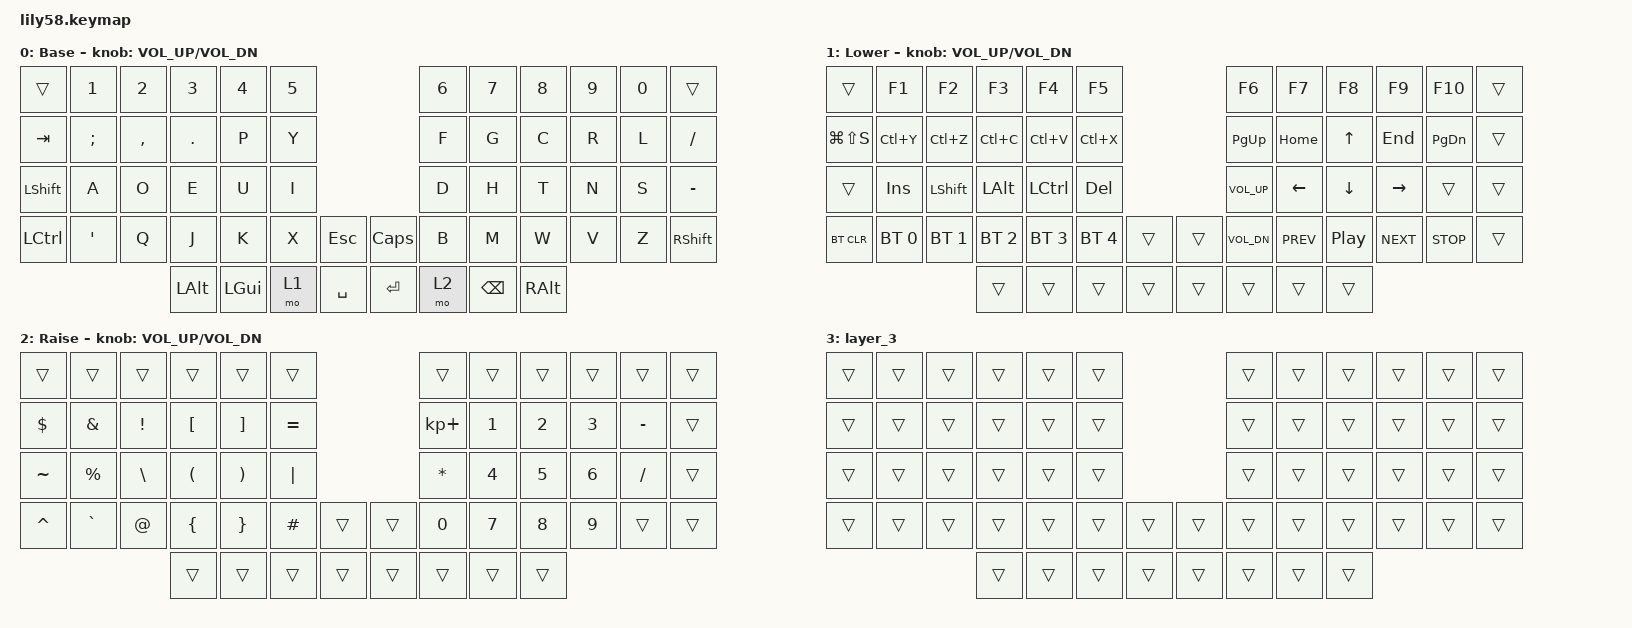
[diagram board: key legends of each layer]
/*
 * Copyright (c) 2020 The ZMK Contributors
 *
 * SPDX-License-Identifier: MIT
 */

#include <behaviors.dtsi>
#include <dt-bindings/zmk/bt.h>
#include <dt-bindings/zmk/keys.h>

/ {
    keymap {
        compatible = "zmk,keymap";

        default_layer {
            // ------------------------------------------------------------------------------------------------------------
            // |  ESC  |  1  |  2  |  3   |  4   |  5   |                   |  6   |  7    |  8    |  9   |   0   |   `   |
            // |  TAB  |  Q  |  W  |  E   |  R   |  T   |                   |  Y   |  U    |  I    |  O   |   P   |   -   |
            // |  CTRL |  A  |  S  |  D   |  F   |  G   |                   |  H   |  J    |  K    |  L   |   ;   |   '   |
            // | SHIFT |  Z  |  X  |  C   |  V   |  B   |   "["  |  |  "]"  |  N   |  M    |  ,    |  .   |   /   | SHIFT |
            //                     | ALT  | GUI  | LOWER|  SPACE |  | ENTER | RAISE| BSPC  | GUI   |

            display-name = "Base";
            bindings = <
&trans     &kp NUMBER_1    &kp NUMBER_2  &kp NUMBER_3  &kp NUMBER_4  &kp NUMBER_5                         &kp NUMBER_6  &kp NUMBER_7  &kp NUMBER_8  &kp NUMBER_9  &kp N0  &trans
&kp TAB    &kp SEMI        &kp COMMA     &kp DOT       &kp P         &kp Y                                &kp F         &kp G         &kp C         &kp R         &kp L   &kp FSLH
&kp LSHFT  &kp A           &kp O         &kp E         &kp U         &kp I                                &kp D         &kp H         &kp T         &kp N         &kp S   &kp MINUS
&kp LCTRL  &kp APOSTROPHE  &kp Q         &kp J         &kp K         &kp X         &kp ESC      &kp CAPS  &kp B         &kp M         &kp W         &kp V         &kp Z   &kp RSHFT
                                         &kp LALT      &kp LGUI      &mo 1         &kp SPACE    &kp RET   &mo 2         &kp BSPC      &kp RALT
            >;

            sensor-bindings = <&inc_dec_kp C_VOL_UP C_VOL_DN>;
        };

        lower_layer {
            // ------------------------------------------------------------------------------------------------------------
            // | BTCLR | BT1 | BT2 |  BT3 |  BT4 |  BT5 |                   |      |       |       |      |       |       |
            // |  F1   |  F2 |  F3 |  F4  |  F5  |  F6  |                   |  F7  |  F8   |  F9   |  F10 |  F11  |  F12  |
            // |   `   |  !  |  @  |  #   |  $   |  %   |                   |  ^   |  &    |  *    |  (   |   )   |   ~   |
            // |       |     |     |      |      |      |        |  |       |      |  _    |  +    |  {   |   }   |  "|"  |
            //                     |      |      |      |        |  |       |      |       |       |

            display-name = "Lower";
            bindings = <
&trans         &kp F1        &kp F2        &kp F3        &kp F4        &kp F5                          &kp F6        &kp F7          &kp F8            &kp F9           &kp F10        &trans
&kp LG(LS(S))  &kp LC(Y)     &kp LC(Z)     &kp LC(C)     &kp LC(V)     &kp LC(X)                       &kp PAGE_UP   &kp HOME        &kp UP_ARROW      &kp END          &kp PAGE_DOWN  &trans
&trans         &kp INSERT    &kp LSHFT     &kp LALT      &kp LCTRL     &kp DELETE                      &kp C_VOL_UP  &kp LEFT_ARROW  &kp DOWN_ARROW    &kp RIGHT_ARROW  &trans         &trans
&bt BT_CLR     &bt BT_SEL 0  &bt BT_SEL 1  &bt BT_SEL 2  &bt BT_SEL 3  &bt BT_SEL 4  &trans    &trans  &kp C_VOL_DN  &kp C_PREV      &kp C_PLAY_PAUSE  &kp C_NEXT       &kp C_STOP     &trans
                                           &trans        &trans        &trans        &trans    &trans  &trans        &trans          &trans
            >;

            sensor-bindings = <&inc_dec_kp C_VOL_UP C_VOL_DN>;
        };

        raise_layer {
            // ------------------------------------------------------------------------------------------------------------
            // |       |     |     |      |      |      |                   |      |       |       |      |       |       |
            // |   `   |  1  |  2  |  3   |  4   |  5   |                   |  6   |   7   |   8   |  9   |   0   |       |
            // |   F1  |  F2 |  F3 |  F4  |  F5  |  F6  |                   |      |   <-  |   v   |  ^   |  ->   |       |
            // |   F7  |  F8 |  F9 |  F10 |  F11 |  F12 |        |  |       |  +   |   -   |   =   |  [   |   ]   |   \   |
            //                     |      |      |      |        |  |       |      |       |       |

            display-name = "Raise";
            bindings = <
&trans      &trans         &trans           &trans                &trans                 &trans                       &trans        &trans  &trans  &trans  &trans     &trans
&kp DOLLAR  &kp AMPERSAND  &kp EXCLAMATION  &kp LEFT_BRACKET      &kp RIGHT_BRACKET      &kp EQUAL                    &kp KP_PLUS   &kp N1  &kp N2  &kp N3  &kp MINUS  &trans
&kp TILDE   &kp PERCENT    &kp BACKSLASH    &kp LEFT_PARENTHESIS  &kp RIGHT_PARENTHESIS  &kp PIPE                     &kp ASTERISK  &kp N4  &kp N5  &kp N6  &kp SLASH  &trans
&kp CARET   &kp GRAVE      &kp AT_SIGN      &kp LEFT_BRACE        &kp RIGHT_BRACE        &kp POUND  &trans    &trans  &kp NUMBER_0  &kp N7  &kp N8  &kp N9  &trans     &trans
                                            &trans                &trans                 &trans     &trans    &trans  &trans        &trans  &trans
            >;

            sensor-bindings = <&inc_dec_kp C_VOL_UP C_VOL_DN>;
        };

        layer_3 {
            bindings = <
&trans  &trans  &trans  &trans  &trans  &trans                    &trans  &trans  &trans  &trans  &trans  &trans
&trans  &trans  &trans  &trans  &trans  &trans                    &trans  &trans  &trans  &trans  &trans  &trans
&trans  &trans  &trans  &trans  &trans  &trans                    &trans  &trans  &trans  &trans  &trans  &trans
&trans  &trans  &trans  &trans  &trans  &trans  &trans    &trans  &trans  &trans  &trans  &trans  &trans  &trans
                        &trans  &trans  &trans  &trans    &trans  &trans  &trans  &trans
            >;
        };
    };
};
